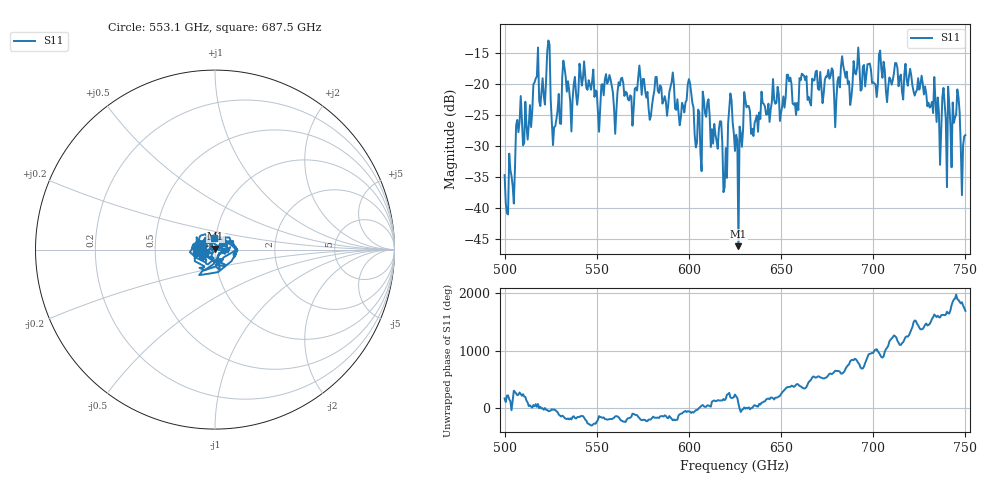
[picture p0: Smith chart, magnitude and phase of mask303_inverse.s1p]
!Created with skrf (http://scikit-rf.org).
# GHz S MA R 50.0
!freq magS11 angS11
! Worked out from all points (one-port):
!   401 points, 500 GHz to 750 GHz, reference 50 ohm
!   lowest |S11| = -46.2 dB at 626.9 GHz (marker M1), VSWR 1.01, Z = 50.1 + j0.47 ohm
!   |S11| at or under -10 dB: start of sweep to end of sweep
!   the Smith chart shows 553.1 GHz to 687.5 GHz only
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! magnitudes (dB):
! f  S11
! 500 GHz  -34.7
! 504.4 GHz  -36.5
! 507.5 GHz  -27.8
! 513.8 GHz  -23.4
! 516.9 GHz  -19.1
! 520.6 GHz  -19.1
! 523.8 GHz  -13.0
! 526.9 GHz  -27.0
! 531.2 GHz  -19.0
! 560 GHz  -28.1
! 562.5 GHz  -20.3
! 579.4 GHz  -25.2
! 590.6 GHz  -19.7
! 593.8 GHz  -22.5
! 600.6 GHz  -19.9
! 605.6 GHz  -24.6
! 608.8 GHz  -24.7
! 619.4 GHz  -36.7
! 622.5 GHz  -21.5
! 625 GHz  -30.8
! 626.9 GHz  -46.2
! 631.2 GHz  -23.8
! 635 GHz  -28.4
! 656.2 GHz  -23.2
! 687.5 GHz  -23.4
! 690.6 GHz  -18.5
! 718.8 GHz  -20.3
! 750 GHz  -28.3
